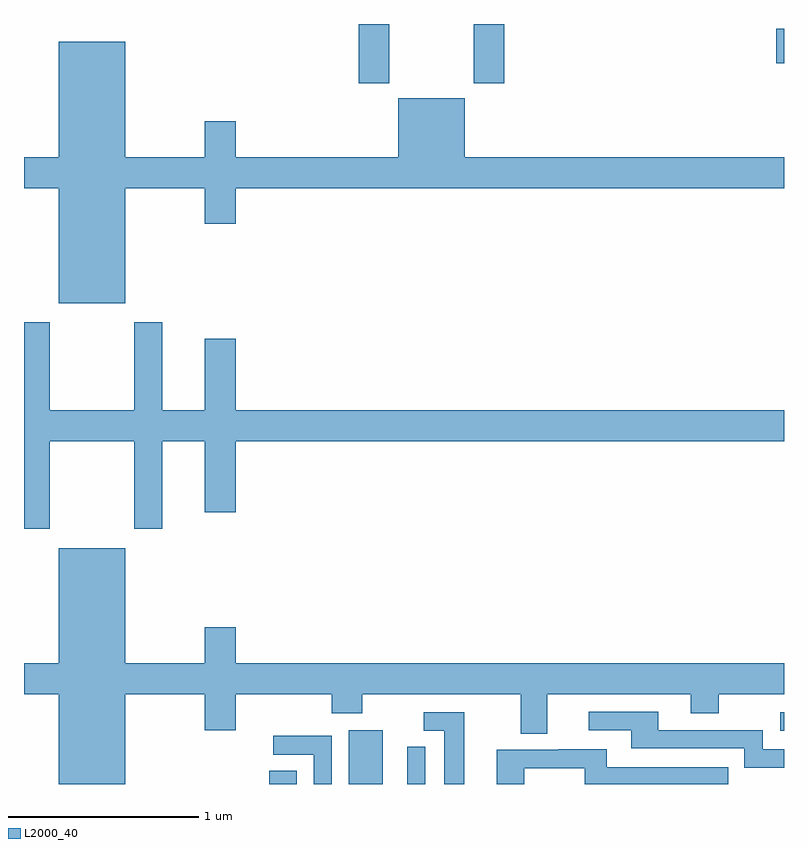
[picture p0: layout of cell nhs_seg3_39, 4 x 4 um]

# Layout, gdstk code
import gdstk
lib = gdstk.Library(unit=1e-6, precision=1e-09)
def R(c, l, rs):  # rectangles x0, y0, x1, y1
    for r in rs: c.add(gdstk.rectangle(r[:2], r[2:], *l))
def P(c, l, *ps):  # polygons
    for p in ps: c.add(gdstk.Polygon(p, *l))
L2000_40 = (2000, 40)

nhs_seg3_39 = lib.new_cell('nhs_seg3_39')
R(nhs_seg3_39, L2000_40, [(112.292,744.4,112.435,744.47), (112.709,744.4,112.888,744.682), (114.981,744.681,115,744.777), (112.763,748.089,112.923,748.4), (113.368,748.089,113.528,748.4), (114.96,748.193,115,748.376)])
P(nhs_seg3_39, L2000_40, [(111.532,747.536),(111.95,747.536),(111.95,747.348),(112.114,747.348),(112.114,747.536),(115,747.536),(115,747.7),(113.32,747.7),(113.32,748.009),(112.97,748.009),(112.97,747.7),(112.114,747.7),(112.114,747.889),(111.95,747.889),(111.95,747.7),(111.532,747.7),(111.532,748.306),(111.182,748.306),(111.182,747.7),(111,747.7),(111,747.536),(111.182,747.536),(111.182,746.93),(111.532,746.93)],
  [(111.135,746.204),(111.58,746.204),(111.58,745.743),(111.727,745.743),(111.727,746.204),(111.95,746.204),(111.95,745.83),(112.114,745.83),(112.114,746.204),(115,746.204),(115,746.368),(112.114,746.368),(112.114,746.743),(111.95,746.743),(111.95,746.368),(111.727,746.368),(111.727,746.83),(111.58,746.83),(111.58,746.368),(111.135,746.368),(111.135,746.83),(111,746.83),(111,745.743),(111.135,745.743)],
  [(111.532,744.872),(111.95,744.872),(111.95,744.684),(112.114,744.684),(112.114,744.872),(112.619,744.872),(112.619,744.773),(112.779,744.773),(112.779,744.872),(113.615,744.872),(113.615,744.664),(113.755,744.664),(113.755,744.872),(114.509,744.872),(114.509,744.773),(114.657,744.773),(114.657,744.872),(115,744.872),(115,745.036),(112.114,745.036),(112.114,745.225),(111.95,745.225),(111.95,745.036),(111.532,745.036),(111.532,745.642),(111.182,745.642),(111.182,745.036),(111,745.036),(111,744.872),(111.182,744.872),(111.182,744.4),(111.532,744.4)],
  [(115,744.582),(114.888,744.582),(114.888,744.684),(114.337,744.684),(114.337,744.78),(113.973,744.78),(113.973,744.684),(114.197,744.684),(114.197,744.588),(114.792,744.588),(114.792,744.485),(115,744.485)],
  [(113.317,744.777),(113.103,744.777),(113.103,744.681),(113.213,744.681),(113.213,744.4),(113.317,744.4)],
  [(112.62,744.654),(112.311,744.654),(112.311,744.555),(112.524,744.555),(112.524,744.4),(112.62,744.4)],
  [(113.112,744.596),(113.016,744.596),(113.016,744.442),(113.018,744.442),(113.018,744.4),(113.112,744.4)],
  [(113.634,744.483),(113.952,744.483),(113.952,744.4),(114.707,744.4),(114.707,744.489),(114.067,744.489),(114.067,744.583),(113.813,744.583),(113.813,744.579),(113.489,744.579),(113.489,744.4),(113.634,744.4)])

lib.write_gds('nhs_seg3_39.gds')
